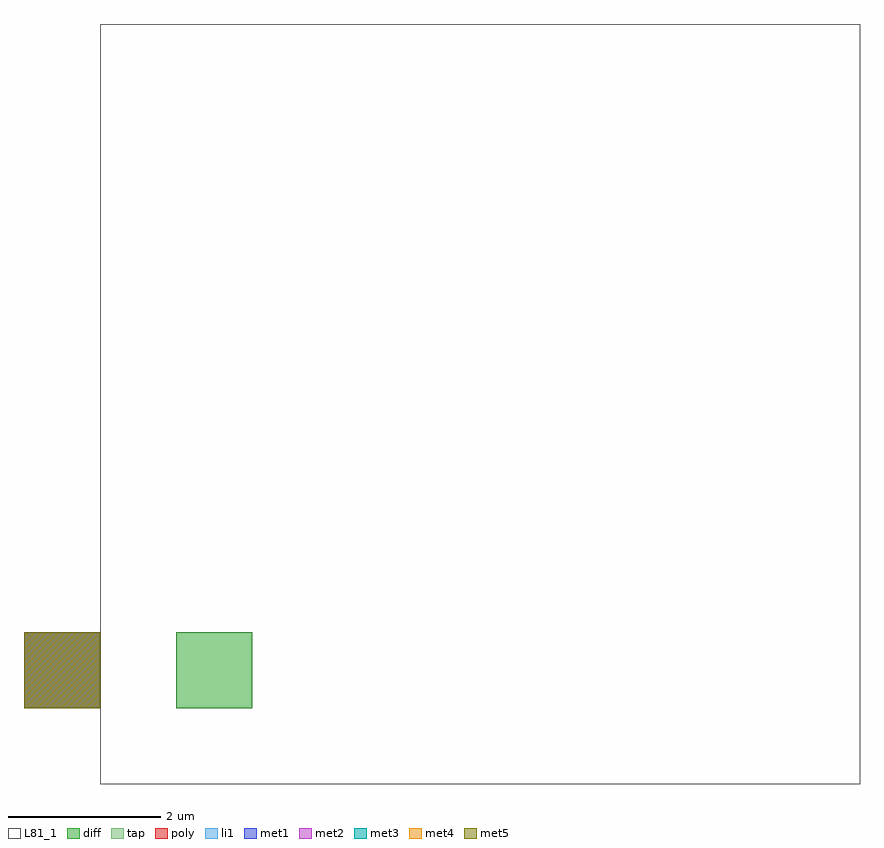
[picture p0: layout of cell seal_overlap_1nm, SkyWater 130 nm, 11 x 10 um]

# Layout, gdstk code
import gdstk
lib = gdstk.Library(unit=1e-6, precision=1e-09)
def R(c, l, rs):  # rectangles x0, y0, x1, y1
    for r in rs: c.add(gdstk.rectangle(r[:2], r[2:], *l))
diff = (65, 20)
tap = (65, 44)
poly = (66, 20)
li1 = (67, 20)
met1 = (68, 20)
met2 = (69, 20)
met3 = (70, 20)
met4 = (71, 20)
met5 = (72, 20)
L81_1 = (81, 1)

seal_overlap_1nm = lib.new_cell('seal_overlap_1nm')
R(seal_overlap_1nm, diff, [(1,1,2,2)])
R(seal_overlap_1nm, tap, [(-1,1,0.001,2)])
R(seal_overlap_1nm, poly, [(-1,1,0.001,2)])
R(seal_overlap_1nm, li1, [(-1,1,0.001,2)])
R(seal_overlap_1nm, met1, [(-1,1,0.001,2)])
R(seal_overlap_1nm, met2, [(-1,1,0.001,2)])
R(seal_overlap_1nm, met3, [(-1,1,0.001,2)])
R(seal_overlap_1nm, met4, [(-1,1,0.001,2)])
R(seal_overlap_1nm, met5, [(-1,1,0.001,2)])
R(seal_overlap_1nm, L81_1, [(0,0,10,10)])

lib.write_gds('seal_overlap_1nm.gds')
